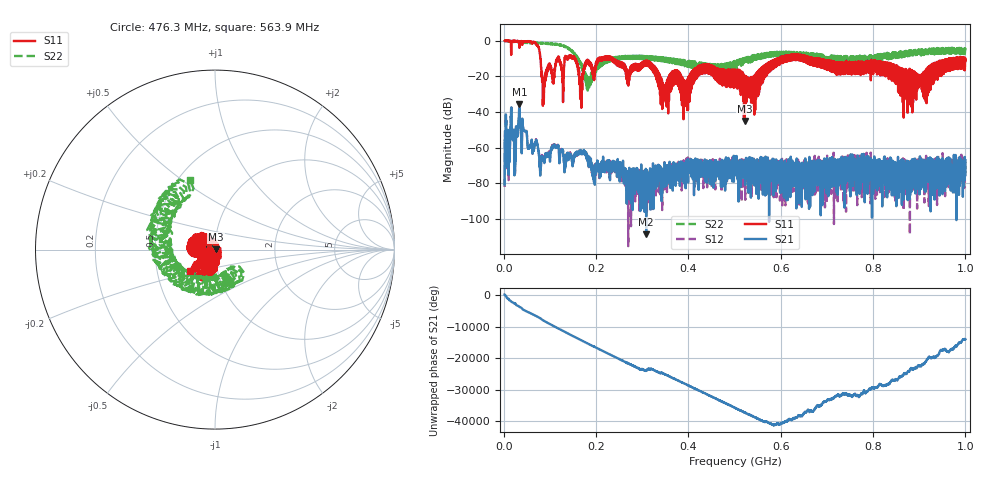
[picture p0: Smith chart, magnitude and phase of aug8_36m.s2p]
!Keysight Technologies N9923A: A.12.45
!Date: Friday, 08 August 2025 17:57:11
!Timezone: (UTC+08:00) Kuala Lumpur, Singapore
!Model: N9923A
!Serial: MY61181427
!GPS Latitude:
!GPS Longitude:
!GPS TimeStamp: 0001-01-01 00:00:00Z
!GPS Seconds Since Last Read: 0
!CHECKSUM:0191837588
!Correction: S11(ON U)S21(ON U)S12(ON U)S22(ON U)
!S2P File: Measurements:S11,S21,S12,S22:
# Hz S DB R 50
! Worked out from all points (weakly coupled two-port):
!   4001 points, 2 MHz to 1 GHz, reference 50 ohm
!   highest |S21| = -35.48 dB at 33.94 MHz (marker M1); lowest = -108.6 dB at 308.6 MHz (marker M2)
!   lowest |S11| = -45.1 dB at 522.2 MHz (marker M3), VSWR 1.01, Z = 50.5 + j0.141 ohm
!   |S11| at or under -10 dB: 155.2 MHz to 205.8 MHz (50.63 MHz wide, 28 % of centre); 236.1 MHz to 594.5 MHz (358.4 MHz wide, 86.3 % of centre); 680.8 MHz to 964.1 MHz (283.3 MHz wide, 34.4 % of centre) (the widest 3 of 102)
!   |S22| runs from -28.0 to 0.1 dB; largest |S21 - S12| = 0.0011
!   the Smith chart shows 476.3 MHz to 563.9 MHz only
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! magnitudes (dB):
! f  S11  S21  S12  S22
! 2 MHz  -0.1  -80.6  -82.0  0.0
! 17.47 MHz  -0.5  -49.4  -49.2  -0.5
! 33.94 MHz  -4.1  -35.5  -35.5  -0.9
! 71.86 MHz  -2.5  -57.2  -57.1  -1.5
! 82.34 MHz  -17.6  -65.6  -64.7  -1.3
! 108.8 MHz  -18.2  -58.8  -58.3  -2.0
! 147 MHz  -8.7  -64.8  -64.7  -6.2
! 168.4 MHz  -35.8  -62.0  -63.5  -14.0
! 180.6 MHz  -10.8  -66.1  -66.9  -24.2
! 224.6 MHz  -9.1  -71.0  -67.5  -10.4
! 269.2 MHz  -18.5  -81.4  -84.9  -10.1
! 308.6 MHz  -14.0  -108.6  -90.3  -8.6
! 334.8 MHz  -19.0  -69.6  -79.4  -11.4
! 348.3 MHz  -30.4  -76.1  -78.8  -11.9
! 430.1 MHz  -13.6  -71.9  -71.2  -13.5
! 501 MHz  -16.2  -72.6  -68.0  -15.8
! 522.2 MHz  -45.1  -69.9  -71.5  -9.7
! 604.5 MHz  -8.9  -72.3  -74.5  -6.4
! 667.4 MHz  -10.1  -79.7  -78.5  -8.3
! 833.8 MHz  -19.0  -72.4  -76.3  -8.0
! 906.2 MHz  -22.2  -76.8  -66.2  -6.5
! 1 GHz  -11.3  -67.0  -74.1  -6.1
